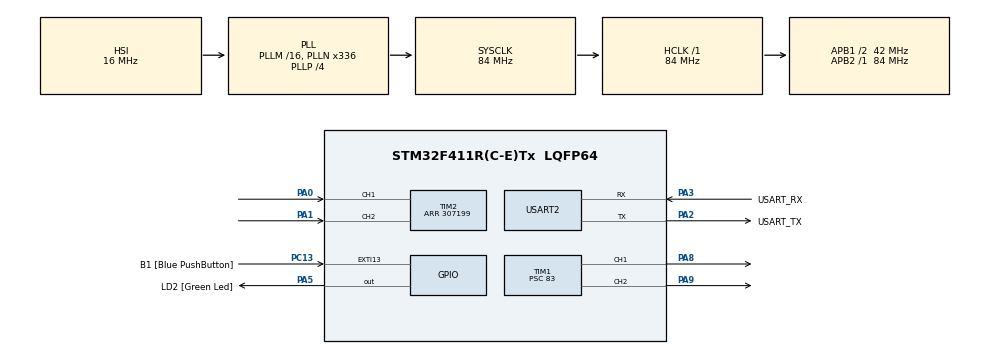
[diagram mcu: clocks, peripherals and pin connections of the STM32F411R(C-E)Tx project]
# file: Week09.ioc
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Mcu.Family=STM32F4
Mcu.Name=STM32F411R(C-E)Tx
Mcu.Package=LQFP64
NVIC.PriorityGroup=NVIC_PRIORITYGROUP_0
PA0-WKUP.Signal=S_TIM2_CH1_ETR
PA1.Signal=S_TIM2_CH2
PA13.GPIO_Label=TMS
PA13.Mode=Serial_Wire
PA13.Signal=SYS_JTMS-SWDIO
PA14.GPIO_Label=TCK
PA14.Mode=Serial_Wire
PA14.Signal=SYS_JTCK-SWCLK
PA2.GPIO_Label=USART_TX
PA2.Mode=Asynchronous
PA2.Signal=USART2_TX
PA3.GPIO_Label=USART_RX
PA3.Mode=Asynchronous
PA3.Signal=USART2_RX
PA5.GPIO_Label=LD2 [Green Led]
PA5.Signal=GPIO_Output
PA8.Signal=S_TIM1_CH1
PA9.Signal=S_TIM1_CH2
PB3.GPIO_Label=SWO
PB3.Signal=SYS_JTDO-SWO
PC13-ANTI_TAMP.GPIO_Label=B1 [Blue PushButton]
PC13-ANTI_TAMP.GPIO_ModeDefaultEXTI=GPIO_MODE_IT_FALLING
PC13-ANTI_TAMP.Signal=GPXTI13
PC14-OSC32_IN.Mode=LSE-External-Oscillator
PC14-OSC32_IN.Signal=RCC_OSC32_IN
PC15-OSC32_OUT.Mode=LSE-External-Oscillator
PC15-OSC32_OUT.Signal=RCC_OSC32_OUT
PH0\ -\ OSC_IN.Mode=HSE-External-Clock-Source
PH0\ -\ OSC_IN.Signal=RCC_OSC_IN
PH1\ -\ OSC_OUT.Mode=HSE-External-Clock-Source
PH1\ -\ OSC_OUT.Signal=RCC_OSC_OUT
ProjectManager.HeapSize=0x200
ProjectManager.StackSize=0x400
ProjectManager.TargetToolchain=STM32CubeIDE
RCC.48MHZClocksFreq_Value=84000000
RCC.AHBFreq_Value=84000000
RCC.APB1CLKDivider=RCC_HCLK_DIV2
RCC.APB1Freq_Value=42000000
RCC.APB1TimFreq_Value=84000000
RCC.APB2Freq_Value=84000000
RCC.APB2TimFreq_Value=84000000
RCC.CortexFreq_Value=84000000
RCC.FLatency-AdvancedSettings=FLASH_LATENCY_2
RCC.HCLKFreq_Value=84000000
RCC.HSE_VALUE=8000000
RCC.HSI_VALUE=16000000
RCC.PLLN=336
RCC.PLLP=RCC_PLLP_DIV4
RCC.SYSCLKFreq_VALUE=84000000
RCC.SYSCLKSource=RCC_SYSCLKSOURCE_PLLCLK
RCC.VCOOutputFreq_Value=336000000
SH.S_TIM1_CH1.0=TIM1_CH1,PWM Generation1 CH1
SH.S_TIM1_CH2.0=TIM1_CH2,PWM Generation2 CH2
SH.S_TIM2_CH1_ETR.0=TIM2_CH1,Encoder_Interface
SH.S_TIM2_CH2.0=TIM2_CH2,Encoder_Interface
TIM1.Channel-PWM\ Generation1\ CH1=TIM_CHANNEL_1
TIM1.Channel-PWM\ Generation2\ CH2=TIM_CHANNEL_2
TIM1.OCMode_PWM-PWM\ Generation1\ CH1=TIM_OCMODE_PWM1
TIM1.Period=999
TIM1.Prescaler=83
TIM1.Pulse-PWM\ Generation1\ CH1=500
TIM1.Pulse-PWM\ Generation2\ CH2=500
TIM2.EncoderMode=TIM_ENCODERMODE_TI12
TIM2.Period=307199
USART2.VirtualMode=VM_ASYNC
VP_TIM1_VS_ClockSourceINT.Mode=Internal
board=NUCLEO-F411RE

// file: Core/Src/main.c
/* USER CODE BEGIN Header */
/**
  ******************************************************************************
  * @file           : main.c
  * @brief          : Main program body
  ******************************************************************************
  * @attention
  *
  * Copyright (c) 2023 STMicroelectronics.
  * All rights reserved.
  *
  * This software is licensed under terms that can be found in the LICENSE file
  * in the root directory of this software component.
  * If no LICENSE file comes with this software, it is provided AS-IS.
  *
  ******************************************************************************
  */
/* USER CODE END Header */
#include "main.h"

/* USER CODE BEGIN Includes */
#include "arm_math.h"
/* USER CODE END Includes */

TIM_HandleTypeDef htim1;
TIM_HandleTypeDef htim2;

UART_HandleTypeDef huart2;

/* USER CODE BEGIN PV */

int32_t QEIReadRaw;
float DegreeAngle;
int32_t LastQEI;
uint32_t Betweenround;
uint16_t CW;
int32_t CCW;
volatile arm_status CalcSt;

arm_pid_instance_f32 PID ={0};
float Position = 0;
float Setposition = 0;
float Vfeedback = 0;
/* USER CODE END PV */

void SystemClock_Config(void);
static void MX_GPIO_Init(void);
static void MX_USART2_UART_Init(void);
static void MX_TIM2_Init(void);
static void MX_TIM1_Init(void);
/* USER CODE BEGIN PFP */
float PlantSimulation(float VIn);
/* USER CODE END PFP */

int main(void)
{

  /* MCU Configuration--------------------------------------------------------*/

  /* Reset of all peripherals, Initializes the Flash interface and the Systick. */
  HAL_Init();

  /* Configure the system clock */
  SystemClock_Config();

  /* Initialize all configured peripherals */
  MX_GPIO_Init();
  MX_USART2_UART_Init();
  MX_TIM2_Init();
  MX_TIM1_Init();
  /* USER CODE BEGIN 2 */
  HAL_TIM_Base_Start(&htim2);
  HAL_TIM_Encoder_Start(&htim2, TIM_CHANNEL_1|TIM_CHANNEL_2);
  HAL_TIM_PWM_Start(&htim1, TIM_CHANNEL_1);
  HAL_TIM_PWM_Start(&htim1, TIM_CHANNEL_2);

  PID.Kp =1.1;
  PID.Ki =0;
  PID.Kd =0;
  arm_pid_init_f32(&PID, 0);
  /* USER CODE END 2 */

  /* Infinite loop */
  while (1)
  {

    /* USER CODE BEGIN 3 */
	  QEIReadRaw = __HAL_TIM_GET_COUNTER(&htim2);
	  if(LastQEI - QEIReadRaw <= -1000){
		  QEIReadRaw = 0;
	  }
	  if(LastQEI - QEIReadRaw >= 1000){
		  QEIReadRaw = 307199;
	  }
	  static uint32_t timestamp = 0;
	  if(timestamp < HAL_GetTick())
	  {
		  timestamp = HAL_GetTick()+10;
		  DegreeAngle = QEIReadRaw*(360.0/3072.0);
		  Position = DegreeAngle;
		  Vfeedback = arm_pid_f32(&PID, Setposition - Position);
		  if(Vfeedback > 0){
		  	  			CCW = 0;
		  	  			CW = Vfeedback*(1000/3.3);
		  	  			if(CW >= 1000) CW = 1000;
		  	  			else if(CW <= 0) CW = 100;

		  	  		}
		  	  		else if(Vfeedback < 0){ //Want CCW
		  	  			CW = 0;
		  				CCW = -1*Vfeedback*(1000/3.3);
		  				if(CCW >= 1000) CCW = 1000;
		  				else if(CCW <= 0) CCW = 100;

		  	  		}
		  	  	  }

	  	  	  __HAL_TIM_SET_COMPARE(&htim1,TIM_CHANNEL_1,CW);
	  	  	  __HAL_TIM_SET_COMPARE(&htim1,TIM_CHANNEL_2,CCW);
		  	  LastQEI = QEIReadRaw;
	  }

  /* USER CODE END 3 */
}

void SystemClock_Config(void)
{
  RCC_OscInitTypeDef RCC_OscInitStruct = {0};
  RCC_ClkInitTypeDef RCC_ClkInitStruct = {0};

  /** Configure the main internal regulator output voltage
  */
  __HAL_RCC_PWR_CLK_ENABLE();
  __HAL_PWR_VOLTAGESCALING_CONFIG(PWR_REGULATOR_VOLTAGE_SCALE1);

  /** Initializes the RCC Oscillators according to the specified parameters
  * in the RCC_OscInitTypeDef structure.
  */
  RCC_OscInitStruct.OscillatorType = RCC_OSCILLATORTYPE_HSI;
  RCC_OscInitStruct.HSIState = RCC_HSI_ON;
  RCC_OscInitStruct.HSICalibrationValue = RCC_HSICALIBRATION_DEFAULT;
  RCC_OscInitStruct.PLL.PLLState = RCC_PLL_ON;
  RCC_OscInitStruct.PLL.PLLSource = RCC_PLLSOURCE_HSI;
  RCC_OscInitStruct.PLL.PLLM = 16;
  RCC_OscInitStruct.PLL.PLLN = 336;
  RCC_OscInitStruct.PLL.PLLP = RCC_PLLP_DIV4;
  RCC_OscInitStruct.PLL.PLLQ = 4;
  if (HAL_RCC_OscConfig(&RCC_OscInitStruct) != HAL_OK)
  {
    Error_Handler();
  }

  /** Initializes the CPU, AHB and APB buses clocks
  */
  RCC_ClkInitStruct.ClockType = RCC_CLOCKTYPE_HCLK|RCC_CLOCKTYPE_SYSCLK
                              |RCC_CLOCKTYPE_PCLK1|RCC_CLOCKTYPE_PCLK2;
  RCC_ClkInitStruct.SYSCLKSource = RCC_SYSCLKSOURCE_PLLCLK;
  RCC_ClkInitStruct.AHBCLKDivider = RCC_SYSCLK_DIV1;
  RCC_ClkInitStruct.APB1CLKDivider = RCC_HCLK_DIV2;
  RCC_ClkInitStruct.APB2CLKDivider = RCC_HCLK_DIV1;

  if (HAL_RCC_ClockConfig(&RCC_ClkInitStruct, FLASH_LATENCY_2) != HAL_OK)
  {
    Error_Handler();
  }
}

static void MX_TIM1_Init(void)
{

  TIM_ClockConfigTypeDef sClockSourceConfig = {0};
  TIM_MasterConfigTypeDef sMasterConfig = {0};
  TIM_OC_InitTypeDef sConfigOC = {0};
  TIM_BreakDeadTimeConfigTypeDef sBreakDeadTimeConfig = {0};

  htim1.Instance = TIM1;
  htim1.Init.Prescaler = 83;
  htim1.Init.CounterMode = TIM_COUNTERMODE_UP;
  htim1.Init.Period = 999;
  htim1.Init.ClockDivision = TIM_CLOCKDIVISION_DIV1;
  htim1.Init.RepetitionCounter = 0;
  htim1.Init.AutoReloadPreload = TIM_AUTORELOAD_PRELOAD_DISABLE;
  if (HAL_TIM_Base_Init(&htim1) != HAL_OK)
  {
    Error_Handler();
  }
  sClockSourceConfig.ClockSource = TIM_CLOCKSOURCE_INTERNAL;
  if (HAL_TIM_ConfigClockSource(&htim1, &sClockSourceConfig) != HAL_OK)
  {
    Error_Handler();
  }
  if (HAL_TIM_PWM_Init(&htim1) != HAL_OK)
  {
    Error_Handler();
  }
  sMasterConfig.MasterOutputTrigger = TIM_TRGO_RESET;
  sMasterConfig.MasterSlaveMode = TIM_MASTERSLAVEMODE_DISABLE;
  if (HAL_TIMEx_MasterConfigSynchronization(&htim1, &sMasterConfig) != HAL_OK)
  {
    Error_Handler();
  }
  sConfigOC.OCMode = TIM_OCMODE_PWM1;
  sConfigOC.Pulse = 500;
  sConfigOC.OCPolarity = TIM_OCPOLARITY_HIGH;
  sConfigOC.OCNPolarity = TIM_OCNPOLARITY_HIGH;
  sConfigOC.OCFastMode = TIM_OCFAST_DISABLE;
  sConfigOC.OCIdleState = TIM_OCIDLESTATE_RESET;
  sConfigOC.OCNIdleState = TIM_OCNIDLESTATE_RESET;
  if (HAL_TIM_PWM_ConfigChannel(&htim1, &sConfigOC, TIM_CHANNEL_1) != HAL_OK)
  {
    Error_Handler();
  }
  if (HAL_TIM_PWM_ConfigChannel(&htim1, &sConfigOC, TIM_CHANNEL_2) != HAL_OK)
  {
    Error_Handler();
  }
  sBreakDeadTimeConfig.OffStateRunMode = TIM_OSSR_DISABLE;
  sBreakDeadTimeConfig.OffStateIDLEMode = TIM_OSSI_DISABLE;
  sBreakDeadTimeConfig.LockLevel = TIM_LOCKLEVEL_OFF;
  sBreakDeadTimeConfig.DeadTime = 0;
  sBreakDeadTimeConfig.BreakState = TIM_BREAK_DISABLE;
  sBreakDeadTimeConfig.BreakPolarity = TIM_BREAKPOLARITY_HIGH;
  sBreakDeadTimeConfig.AutomaticOutput = TIM_AUTOMATICOUTPUT_DISABLE;
  if (HAL_TIMEx_ConfigBreakDeadTime(&htim1, &sBreakDeadTimeConfig) != HAL_OK)
  {
    Error_Handler();
  }
  HAL_TIM_MspPostInit(&htim1);

}

static void MX_TIM2_Init(void)
{

  TIM_Encoder_InitTypeDef sConfig = {0};
  TIM_MasterConfigTypeDef sMasterConfig = {0};

  htim2.Instance = TIM2;
  htim2.Init.Prescaler = 0;
  htim2.Init.CounterMode = TIM_COUNTERMODE_UP;
  htim2.Init.Period = 307199;
  htim2.Init.ClockDivision = TIM_CLOCKDIVISION_DIV1;
  htim2.Init.AutoReloadPreload = TIM_AUTORELOAD_PRELOAD_DISABLE;
  sConfig.EncoderMode = TIM_ENCODERMODE_TI12;
  sConfig.IC1Polarity = TIM_ICPOLARITY_RISING;
  sConfig.IC1Selection = TIM_ICSELECTION_DIRECTTI;
  sConfig.IC1Prescaler = TIM_ICPSC_DIV1;
  sConfig.IC1Filter = 0;
  sConfig.IC2Polarity = TIM_ICPOLARITY_RISING;
  sConfig.IC2Selection = TIM_ICSELECTION_DIRECTTI;
  sConfig.IC2Prescaler = TIM_ICPSC_DIV1;
  sConfig.IC2Filter = 0;
  if (HAL_TIM_Encoder_Init(&htim2, &sConfig) != HAL_OK)
  {
    Error_Handler();
  }
  sMasterConfig.MasterOutputTrigger = TIM_TRGO_RESET;
  sMasterConfig.MasterSlaveMode = TIM_MASTERSLAVEMODE_DISABLE;
  if (HAL_TIMEx_MasterConfigSynchronization(&htim2, &sMasterConfig) != HAL_OK)
  {
    Error_Handler();
  }

}

static void MX_USART2_UART_Init(void)
{

  huart2.Instance = USART2;
  huart2.Init.BaudRate = 115200;
  huart2.Init.WordLength = UART_WORDLENGTH_8B;
  huart2.Init.StopBits = UART_STOPBITS_1;
  huart2.Init.Parity = UART_PARITY_NONE;
  huart2.Init.Mode = UART_MODE_TX_RX;
  huart2.Init.HwFlowCtl = UART_HWCONTROL_NONE;
  huart2.Init.OverSampling = UART_OVERSAMPLING_16;
  if (HAL_UART_Init(&huart2) != HAL_OK)
  {
    Error_Handler();
  }

}

static void MX_GPIO_Init(void)
{
  GPIO_InitTypeDef GPIO_InitStruct = {0};

  /* GPIO Ports Clock Enable */
  __HAL_RCC_GPIOC_CLK_ENABLE();
  __HAL_RCC_GPIOH_CLK_ENABLE();
  __HAL_RCC_GPIOA_CLK_ENABLE();
  __HAL_RCC_GPIOB_CLK_ENABLE();

  /*Configure GPIO pin Output Level */
  HAL_GPIO_WritePin(LD2_GPIO_Port, LD2_Pin, GPIO_PIN_RESET);

  /*Configure GPIO pin : B1_Pin */
  GPIO_InitStruct.Pin = B1_Pin;
  GPIO_InitStruct.Mode = GPIO_MODE_IT_FALLING;
  GPIO_InitStruct.Pull = GPIO_NOPULL;
  HAL_GPIO_Init(B1_GPIO_Port, &GPIO_InitStruct);

  /*Configure GPIO pin : LD2_Pin */
  GPIO_InitStruct.Pin = LD2_Pin;
  GPIO_InitStruct.Mode = GPIO_MODE_OUTPUT_PP;
  GPIO_InitStruct.Pull = GPIO_NOPULL;
  GPIO_InitStruct.Speed = GPIO_SPEED_FREQ_LOW;
  HAL_GPIO_Init(LD2_GPIO_Port, &GPIO_InitStruct);

}

/* USER CODE BEGIN 4 */
float PlantSimulation(float VIn)
{
	static float Speed = 0;
	static float Position =0;
	float Current = VIn - Speed * 0.0123;
	float Torque = Current * 0.456;
	float Acc = Torque * 0.789;
	Speed += Acc;
	Position += Speed;
	return Position;
}
/* USER CODE END 4 */

void Error_Handler(void)
{
  __disable_irq();
  while (1)
  {
  }
}
